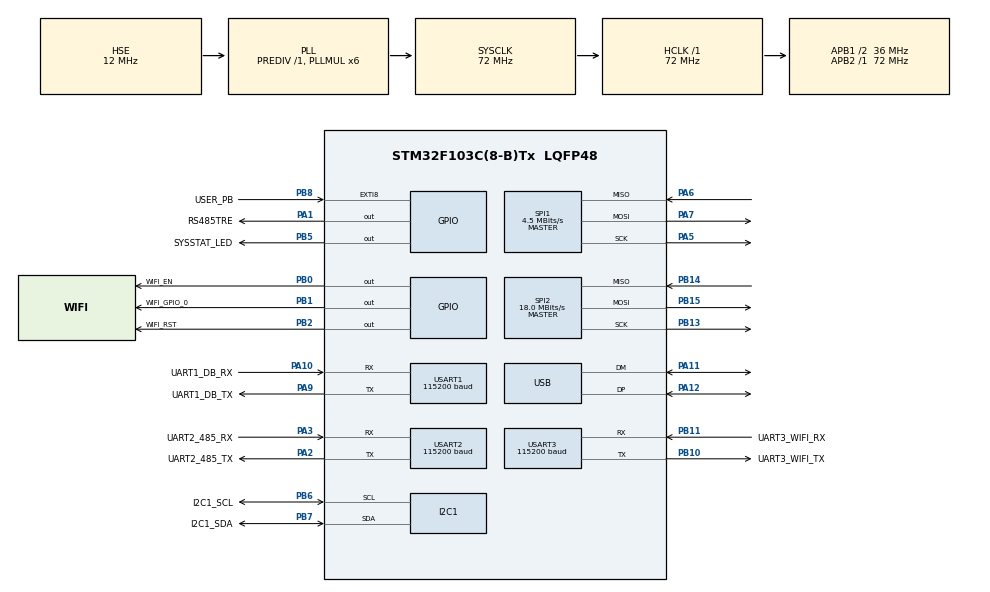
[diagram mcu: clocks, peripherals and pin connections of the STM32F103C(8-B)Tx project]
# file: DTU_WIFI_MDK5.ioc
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Dma.Request0=USART1_TX
Dma.Request1=USART1_RX
Dma.Request2=USART2_TX
Dma.Request3=USART2_RX
Dma.Request4=USART3_TX
Dma.Request5=USART3_RX
Dma.USART1_RX.1.Direction=DMA_PERIPH_TO_MEMORY
Dma.USART1_RX.1.Instance=DMA1_Channel5
Dma.USART1_RX.1.MemDataAlignment=DMA_MDATAALIGN_BYTE
Dma.USART1_RX.1.MemInc=DMA_MINC_ENABLE
Dma.USART1_RX.1.Mode=DMA_CIRCULAR
Dma.USART1_RX.1.PeriphDataAlignment=DMA_PDATAALIGN_BYTE
Dma.USART1_RX.1.PeriphInc=DMA_PINC_DISABLE
Dma.USART1_RX.1.Priority=DMA_PRIORITY_LOW
Dma.USART1_TX.0.Direction=DMA_MEMORY_TO_PERIPH
Dma.USART1_TX.0.Instance=DMA1_Channel4
Dma.USART1_TX.0.MemDataAlignment=DMA_MDATAALIGN_BYTE
Dma.USART1_TX.0.MemInc=DMA_MINC_ENABLE
Dma.USART1_TX.0.Mode=DMA_CIRCULAR
Dma.USART1_TX.0.PeriphDataAlignment=DMA_PDATAALIGN_BYTE
Dma.USART1_TX.0.PeriphInc=DMA_PINC_DISABLE
Dma.USART1_TX.0.Priority=DMA_PRIORITY_LOW
Dma.USART2_RX.3.Direction=DMA_PERIPH_TO_MEMORY
Dma.USART2_RX.3.Instance=DMA1_Channel6
Dma.USART2_RX.3.MemDataAlignment=DMA_MDATAALIGN_BYTE
Dma.USART2_RX.3.MemInc=DMA_MINC_ENABLE
Dma.USART2_RX.3.Mode=DMA_CIRCULAR
Dma.USART2_RX.3.PeriphDataAlignment=DMA_PDATAALIGN_BYTE
Dma.USART2_RX.3.PeriphInc=DMA_PINC_DISABLE
Dma.USART2_RX.3.Priority=DMA_PRIORITY_LOW
Dma.USART2_TX.2.Direction=DMA_MEMORY_TO_PERIPH
Dma.USART2_TX.2.Instance=DMA1_Channel7
Dma.USART2_TX.2.MemDataAlignment=DMA_MDATAALIGN_BYTE
Dma.USART2_TX.2.MemInc=DMA_MINC_ENABLE
Dma.USART2_TX.2.Mode=DMA_CIRCULAR
Dma.USART2_TX.2.PeriphDataAlignment=DMA_PDATAALIGN_BYTE
Dma.USART2_TX.2.PeriphInc=DMA_PINC_DISABLE
Dma.USART2_TX.2.Priority=DMA_PRIORITY_LOW
Dma.USART3_RX.5.Direction=DMA_PERIPH_TO_MEMORY
Dma.USART3_RX.5.Instance=DMA1_Channel3
Dma.USART3_RX.5.MemDataAlignment=DMA_MDATAALIGN_BYTE
Dma.USART3_RX.5.MemInc=DMA_MINC_ENABLE
Dma.USART3_RX.5.Mode=DMA_CIRCULAR
Dma.USART3_RX.5.PeriphDataAlignment=DMA_PDATAALIGN_BYTE
Dma.USART3_RX.5.PeriphInc=DMA_PINC_DISABLE
Dma.USART3_RX.5.Priority=DMA_PRIORITY_LOW
Dma.USART3_TX.4.Direction=DMA_MEMORY_TO_PERIPH
Dma.USART3_TX.4.Instance=DMA1_Channel2
Dma.USART3_TX.4.MemDataAlignment=DMA_MDATAALIGN_BYTE
Dma.USART3_TX.4.MemInc=DMA_MINC_ENABLE
Dma.USART3_TX.4.Mode=DMA_CIRCULAR
Dma.USART3_TX.4.PeriphDataAlignment=DMA_PDATAALIGN_BYTE
Dma.USART3_TX.4.PeriphInc=DMA_PINC_DISABLE
Dma.USART3_TX.4.Priority=DMA_PRIORITY_LOW
IWDG.Prescaler=IWDG_PRESCALER_64
Mcu.Family=STM32F1
Mcu.Name=STM32F103C(8-B)Tx
Mcu.Package=LQFP48
NVIC.DMA1_Channel2_IRQn=true\:0\:0\:false\:true\:true\:1\:false
NVIC.DMA1_Channel3_IRQn=true\:0\:0\:false\:true\:true\:2\:false
NVIC.DMA1_Channel4_IRQn=true\:0\:0\:false\:true\:true\:3\:false
NVIC.DMA1_Channel5_IRQn=true\:0\:0\:false\:true\:true\:4\:false
NVIC.DMA1_Channel6_IRQn=true\:0\:0\:false\:true\:true\:5\:false
NVIC.DMA1_Channel7_IRQn=true\:0\:0\:false\:true\:true\:6\:false
NVIC.EXTI9_5_IRQn=true\:0\:0\:false\:true\:true\:8\:true
NVIC.I2C1_ER_IRQn=true\:0\:0\:false\:true\:true\:13\:true
NVIC.I2C1_EV_IRQn=true\:0\:0\:false\:true\:true\:12\:true
NVIC.PriorityGroup=NVIC_PRIORITYGROUP_4
NVIC.RTC_IRQn=true\:0\:0\:false\:true\:true\:15\:true
NVIC.SPI1_IRQn=true\:0\:0\:false\:true\:true\:14\:true
NVIC.TIM1_UP_IRQn=true\:0\:0\:false\:false\:true\:false
NVIC.TIM4_IRQn=true\:0\:0\:false\:true\:true\:7\:true
NVIC.TimeBase=TIM1_UP_IRQn
NVIC.TimeBaseIP=TIM1
NVIC.USART1_IRQn=true\:0\:0\:false\:true\:true\:9\:true
NVIC.USART2_IRQn=true\:0\:0\:false\:true\:true\:10\:true
NVIC.USART3_IRQn=true\:0\:0\:false\:true\:true\:11\:true
NVIC.USB_LP_CAN1_RX0_IRQn=true\:0\:0\:false\:false\:true\:false
PA0-WKUP.Mode=SYS_WakeUp0
PA0-WKUP.Signal=SYS_WKUP
PA1.GPIO_Label=RS485TRE
PA1.Signal=GPIO_Output
PA10.GPIO_Label=UART1_DB_RX
PA10.Mode=Asynchronous
PA10.Signal=USART1_RX
PA11.Mode=Device
PA11.Signal=USB_DM
PA12.Mode=Device
PA12.Signal=USB_DP
PA13.GPIO_Label=SYS_SWDIO
PA13.Signal=SYS_JTMS-SWDIO
PA14.GPIO_Label=SYS_SWCLK
PA14.Signal=SYS_JTCK-SWCLK
PA2.GPIO_Label=UART2_485_TX
PA2.Mode=Asynchronous
PA2.Signal=USART2_TX
PA3.GPIO_Label=UART2_485_RX
PA3.Mode=Asynchronous
PA3.Signal=USART2_RX
PA4.GPIO_Label=SPI1NSS
PA4.Signal=SPI1_NSS
PA5.Mode=Full_Duplex_Master
PA5.Signal=SPI1_SCK
PA6.Mode=Full_Duplex_Master
PA6.Signal=SPI1_MISO
PA7.Mode=Full_Duplex_Master
PA7.Signal=SPI1_MOSI
PA9.GPIO_Label=UART1_DB_TX
PA9.Mode=Asynchronous
PA9.Signal=USART1_TX
PB0.GPIO_Label=WIFI_EN
PB0.Signal=GPIO_Output
PB1.GPIO_Label=WIFI_GPIO_0
PB1.Signal=GPIO_Output
PB10.GPIO_Label=UART3_WIFI_TX
PB10.Mode=Asynchronous
PB10.Signal=USART3_TX
PB11.GPIO_Label=UART3_WIFI_RX
PB11.Mode=Asynchronous
PB11.Signal=USART3_RX
PB13.Mode=Full_Duplex_Master
PB13.Signal=SPI2_SCK
PB14.Mode=Full_Duplex_Master
PB14.Signal=SPI2_MISO
PB15.Mode=Full_Duplex_Master
PB15.Signal=SPI2_MOSI
PB2.GPIO_Label=WIFI_RST
PB2.Signal=GPIO_Output
PB5.GPIO_Label=SYSSTAT_LED
PB5.Signal=GPIO_Output
PB6.GPIO_Label=I2C1_SCL
PB6.Mode=I2C
PB6.Signal=I2C1_SCL
PB7.GPIO_Label=I2C1_SDA
PB7.Mode=I2C
PB7.Signal=I2C1_SDA
PB8.GPIO_Label=USER_PB
PB8.GPIO_ModeDefaultEXTI=GPIO_MODE_IT_FALLING
PB8.GPIO_PuPd=GPIO_PULLUP
PB8.Signal=GPXTI8
PD0-OSC_IN.Mode=HSE-External-Oscillator
PD0-OSC_IN.Signal=RCC_OSC_IN
PD1-OSC_OUT.Mode=HSE-External-Oscillator
PD1-OSC_OUT.Signal=RCC_OSC_OUT
ProjectManager.HeapSize=0x200
ProjectManager.StackSize=0x400
ProjectManager.TargetToolchain=MDK-ARM V5
RCC.AHBFreq_Value=72000000
RCC.APB1CLKDivider=RCC_HCLK_DIV2
RCC.APB1Freq_Value=36000000
RCC.APB1TimFreq_Value=72000000
RCC.APB2Freq_Value=72000000
RCC.APB2TimFreq_Value=72000000
RCC.HCLKFreq_Value=72000000
RCC.HSE_VALUE=12000000
RCC.PLLMUL=RCC_PLL_MUL6
RCC.PLLSourceVirtual=RCC_PLLSOURCE_HSE
RCC.SYSCLKFreq_VALUE=72000000
RCC.SYSCLKSource=RCC_SYSCLKSOURCE_PLLCLK
RCC.USBFreq_Value=48000000
RCC.USBPrescaler=RCC_USBCLKSOURCE_PLL_DIV1_5
RTC.Date=19
RTC.Month=RTC_MONTH_APRIL
RTC.WeekDay=RTC_WEEKDAY_THURSDAY
RTC.Year=18
SPI1.BaudRatePrescaler=SPI_BAUDRATEPRESCALER_16
SPI1.CalculateBaudRate=4.5 MBits/s
SPI1.Direction=SPI_DIRECTION_2LINES
SPI1.Mode=SPI_MODE_MASTER
SPI1.VirtualType=VM_MASTER
SPI2.CalculateBaudRate=18.0 MBits/s
SPI2.Direction=SPI_DIRECTION_2LINES
SPI2.Mode=SPI_MODE_MASTER
SPI2.VirtualType=VM_MASTER
TIM4.Period=9999
TIM4.Prescaler=7199
USART1.BaudRate=115200
USART1.VirtualMode=VM_ASYNC
USART2.BaudRate=115200
USART2.VirtualMode=VM_ASYNC
USART3.BaudRate=115200
USART3.VirtualMode=VM_ASYNC
USB_DEVICE.CLASS_NAME_FS=HID
USB_DEVICE.VirtualMode=Hid
USB_DEVICE.VirtualModeFS=Hid_FS
VP_IWDG_VS_IWDG.Mode=IWDG_Activate
VP_RTC_VS_RTC_Activate.Mode=RTC_Enabled
VP_RTC_VS_RTC_Calendar.Mode=RTC_Calendar
VP_SYS_VS_ND.Mode=No_Debug
VP_SYS_VS_tim1.Mode=TIM1
VP_TIM2_VS_ClockSourceINT.Mode=Internal
VP_TIM3_VS_ClockSourceINT.Mode=Internal
VP_TIM4_VS_ClockSourceINT.Mode=Internal
VP_USB_DEVICE_VS_USB_DEVICE_HID_FS.Mode=HID_FS
board=OPBOARD_WIFI

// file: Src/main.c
/**
  ******************************************************************************
  * @file           : main.c
  * @brief          : Main program body
  ******************************************************************************
  * This notice applies to any and all portions of this file
  * that are not between comment pairs USER CODE BEGIN and
  * USER CODE END. Other portions of this file, whether
  * inserted by the user or by software development tools
  * are owned by their respective copyright owners.
  *
  * Copyright (c) 2018 STMicroelectronics International N.V.
  * All rights reserved.
  *
  * Redistribution and use in source and binary forms, with or without
  * modification, are permitted, provided that the following conditions are met:
  *
  * 1. Redistribution of source code must retain the above copyright notice,
  *    this list of conditions and the following disclaimer.
  * 2. Redistributions in binary form must reproduce the above copyright notice,
  *    this list of conditions and the following disclaimer in the documentation
  *    and/or other materials provided with the distribution.
  * 3. Neither the name of STMicroelectronics nor the names of other
  *    contributors to this software may be used to endorse or promote products
  *    derived from this software without specific written permission.
  * 4. This software, including modifications and/or derivative works of this
  *    software, must execute solely and exclusively on microcontroller or
  *    microprocessor devices manufactured by or for STMicroelectronics.
  * 5. Redistribution and use of this software other than as permitted under
  *    this license is void and will automatically terminate your rights under
  *    this license.
  *
  * THIS SOFTWARE IS PROVIDED BY STMICROELECTRONICS AND CONTRIBUTORS "AS IS"
  * AND ANY EXPRESS, IMPLIED OR STATUTORY WARRANTIES, INCLUDING, BUT NOT
  * LIMITED TO, THE IMPLIED WARRANTIES OF MERCHANTABILITY, FITNESS FOR A
  * PARTICULAR PURPOSE AND NON-INFRINGEMENT OF THIRD PARTY INTELLECTUAL PROPERTY
  * RIGHTS ARE DISCLAIMED TO THE FULLEST EXTENT PERMITTED BY LAW. IN NO EVENT
  * SHALL STMICROELECTRONICS OR CONTRIBUTORS BE LIABLE FOR ANY DIRECT, INDIRECT,
  * INCIDENTAL, SPECIAL, EXEMPLARY, OR CONSEQUENTIAL DAMAGES (INCLUDING, BUT NOT
  * LIMITED TO, PROCUREMENT OF SUBSTITUTE GOODS OR SERVICES; LOSS OF USE, DATA,
  * OR PROFITS; OR BUSINESS INTERRUPTION) HOWEVER CAUSED AND ON ANY THEORY OF
  * LIABILITY, WHETHER IN CONTRACT, STRICT LIABILITY, OR TORT (INCLUDING
  * NEGLIGENCE OR OTHERWISE) ARISING IN ANY WAY OUT OF THE USE OF THIS SOFTWARE,
  * EVEN IF ADVISED OF THE POSSIBILITY OF SUCH DAMAGE.
  *
  ******************************************************************************
  */
#include "main.h"
#include "stm32f1xx_hal.h"
#include "dma.h"
#include "i2c.h"
#include "iwdg.h"
#include "rtc.h"
#include "spi.h"
#include "tim.h"
#include "usart.h"
#include "usb_device.h"
#include "gpio.h"

/* USER CODE BEGIN Includes */
#include "ESP8266_driver.h"
#include "uart_idle.h"
/* USER CODE END Includes */

/* USER CODE BEGIN PV */
/* Private variables ---------------------------------------------------------*/

/* USER CODE END PV */

void SystemClock_Config(void);
static void MX_NVIC_Init(void);

/* USER CODE BEGIN PFP */
/* Private function prototypes -----------------------------------------------*/

/* USER CODE END PFP */

int main(void)
{

  /* MCU Configuration----------------------------------------------------------*/

  /* Reset of all peripherals, Initializes the Flash interface and the Systick. */
  HAL_Init();

  /* Configure the system clock */
  SystemClock_Config();

  /* Initialize all configured peripherals */
  MX_GPIO_Init();
  MX_DMA_Init();
  MX_USART2_UART_Init();
  MX_USART3_UART_Init();
  MX_USART1_UART_Init();
  MX_SPI1_Init();
  MX_I2C1_Init();
  MX_RTC_Init();
  MX_TIM4_Init();
  MX_IWDG_Init();
  MX_SPI2_Init();
  MX_TIM3_Init();
  MX_TIM2_Init();
  MX_USB_DEVICE_Init();

  /* Initialize interrupts */
  MX_NVIC_Init();
  /* USER CODE BEGIN 2 */
//	if(HAL_TIM_Base_Start_IT(&htim2) != HAL_OK)
//	{
//		printf("TIM2 start error\r\n");
//	}
	if(HAL_TIM_Base_Start_IT(&htim3) != HAL_OK)
	{
		printf("TIM3 start error\r\n");
	}
	if(HAL_TIM_Base_Start_IT(&htim4) != HAL_OK)
	{
		printf("TIM4 start error\r\n");
	}

	/* todo：整合到esp8266驱动库中 */
	esp8266_init();                                                  /* esp8266初始化 */
	HAL_Delay(1000);                                                 /* 延时1s，屏蔽esp8266开机输出信息 */
	__HAL_UART_ENABLE_IT(&huart3, UART_IT_IDLE);                     /* 打开串口3空闲中断 */
	HAL_UART_Receive_DMA(&huart3, (uint8_t *)Uart3_Rx_Buffer, Uart3_Rx_BufferSize);   /* 打开串口3DMA接收中断 */

  /* USER CODE END 2 */

  /* Infinite loop */
  /* USER CODE BEGIN WHILE */
  while (1)
  {
		HAL_IWDG_Refresh(&hiwdg);
	  esp8266_processing();
  /* USER CODE END WHILE */

  }

}

void SystemClock_Config(void)
{

  RCC_OscInitTypeDef RCC_OscInitStruct;
  RCC_ClkInitTypeDef RCC_ClkInitStruct;
  RCC_PeriphCLKInitTypeDef PeriphClkInit;

    /**Initializes the CPU, AHB and APB busses clocks
    */
  RCC_OscInitStruct.OscillatorType = RCC_OSCILLATORTYPE_LSI|RCC_OSCILLATORTYPE_HSE;
  RCC_OscInitStruct.HSEState = RCC_HSE_ON;
  RCC_OscInitStruct.HSEPredivValue = RCC_HSE_PREDIV_DIV1;
  RCC_OscInitStruct.HSIState = RCC_HSI_ON;
  RCC_OscInitStruct.LSIState = RCC_LSI_ON;
  RCC_OscInitStruct.PLL.PLLState = RCC_PLL_ON;
  RCC_OscInitStruct.PLL.PLLSource = RCC_PLLSOURCE_HSE;
  RCC_OscInitStruct.PLL.PLLMUL = RCC_PLL_MUL6;
  if (HAL_RCC_OscConfig(&RCC_OscInitStruct) != HAL_OK)
  {
    _Error_Handler(__FILE__, __LINE__);
  }

    /**Initializes the CPU, AHB and APB busses clocks
    */
  RCC_ClkInitStruct.ClockType = RCC_CLOCKTYPE_HCLK|RCC_CLOCKTYPE_SYSCLK
                              |RCC_CLOCKTYPE_PCLK1|RCC_CLOCKTYPE_PCLK2;
  RCC_ClkInitStruct.SYSCLKSource = RCC_SYSCLKSOURCE_PLLCLK;
  RCC_ClkInitStruct.AHBCLKDivider = RCC_SYSCLK_DIV1;
  RCC_ClkInitStruct.APB1CLKDivider = RCC_HCLK_DIV2;
  RCC_ClkInitStruct.APB2CLKDivider = RCC_HCLK_DIV1;

  if (HAL_RCC_ClockConfig(&RCC_ClkInitStruct, FLASH_LATENCY_2) != HAL_OK)
  {
    _Error_Handler(__FILE__, __LINE__);
  }

  PeriphClkInit.PeriphClockSelection = RCC_PERIPHCLK_RTC|RCC_PERIPHCLK_USB;
  PeriphClkInit.RTCClockSelection = RCC_RTCCLKSOURCE_LSI;
  PeriphClkInit.UsbClockSelection = RCC_USBCLKSOURCE_PLL_DIV1_5;
  if (HAL_RCCEx_PeriphCLKConfig(&PeriphClkInit) != HAL_OK)
  {
    _Error_Handler(__FILE__, __LINE__);
  }

    /**Configure the Systick interrupt time
    */
  HAL_SYSTICK_Config(HAL_RCC_GetHCLKFreq()/1000);

    /**Configure the Systick
    */
  HAL_SYSTICK_CLKSourceConfig(SYSTICK_CLKSOURCE_HCLK);

  /* SysTick_IRQn interrupt configuration */
  HAL_NVIC_SetPriority(SysTick_IRQn, 0, 0);
}

/**
  * @brief NVIC Configuration.
  * @retval None
  */
static void MX_NVIC_Init(void)
{
  /* DMA1_Channel2_IRQn interrupt configuration */
  HAL_NVIC_SetPriority(DMA1_Channel2_IRQn, 0, 0);
  HAL_NVIC_EnableIRQ(DMA1_Channel2_IRQn);
  /* DMA1_Channel3_IRQn interrupt configuration */
  HAL_NVIC_SetPriority(DMA1_Channel3_IRQn, 0, 0);
  HAL_NVIC_EnableIRQ(DMA1_Channel3_IRQn);
  /* DMA1_Channel4_IRQn interrupt configuration */
  HAL_NVIC_SetPriority(DMA1_Channel4_IRQn, 0, 0);
  HAL_NVIC_EnableIRQ(DMA1_Channel4_IRQn);
  /* DMA1_Channel5_IRQn interrupt configuration */
  HAL_NVIC_SetPriority(DMA1_Channel5_IRQn, 0, 0);
  HAL_NVIC_EnableIRQ(DMA1_Channel5_IRQn);
  /* DMA1_Channel6_IRQn interrupt configuration */
  HAL_NVIC_SetPriority(DMA1_Channel6_IRQn, 0, 0);
  HAL_NVIC_EnableIRQ(DMA1_Channel6_IRQn);
  /* DMA1_Channel7_IRQn interrupt configuration */
  HAL_NVIC_SetPriority(DMA1_Channel7_IRQn, 0, 0);
  HAL_NVIC_EnableIRQ(DMA1_Channel7_IRQn);
  /* TIM4_IRQn interrupt configuration */
  HAL_NVIC_SetPriority(TIM4_IRQn, 0, 0);
  HAL_NVIC_EnableIRQ(TIM4_IRQn);
  /* EXTI9_5_IRQn interrupt configuration */
  HAL_NVIC_SetPriority(EXTI9_5_IRQn, 0, 0);
  HAL_NVIC_EnableIRQ(EXTI9_5_IRQn);
  /* USART1_IRQn interrupt configuration */
  HAL_NVIC_SetPriority(USART1_IRQn, 0, 0);
  HAL_NVIC_EnableIRQ(USART1_IRQn);
  /* USART2_IRQn interrupt configuration */
  HAL_NVIC_SetPriority(USART2_IRQn, 0, 0);
  HAL_NVIC_EnableIRQ(USART2_IRQn);
  /* USART3_IRQn interrupt configuration */
  HAL_NVIC_SetPriority(USART3_IRQn, 0, 0);
  HAL_NVIC_EnableIRQ(USART3_IRQn);
  /* I2C1_EV_IRQn interrupt configuration */
  HAL_NVIC_SetPriority(I2C1_EV_IRQn, 0, 0);
  HAL_NVIC_EnableIRQ(I2C1_EV_IRQn);
  /* I2C1_ER_IRQn interrupt configuration */
  HAL_NVIC_SetPriority(I2C1_ER_IRQn, 0, 0);
  HAL_NVIC_EnableIRQ(I2C1_ER_IRQn);
  /* SPI1_IRQn interrupt configuration */
  HAL_NVIC_SetPriority(SPI1_IRQn, 0, 0);
  HAL_NVIC_EnableIRQ(SPI1_IRQn);
  /* RTC_IRQn interrupt configuration */
  HAL_NVIC_SetPriority(RTC_IRQn, 0, 0);
  HAL_NVIC_EnableIRQ(RTC_IRQn);
}

void HAL_TIM_PeriodElapsedCallback(TIM_HandleTypeDef *htim)
{
  if (htim->Instance == TIM1) {
    HAL_IncTick();
  }
  /* USER CODE BEGIN Callback 1 */
	if(htim->Instance == TIM2){

	}
	if(htim->Instance == TIM3){
		at_processing();
		at_time_task();
		printf("TIM3 IT worked.\r\n");
	}
	if(htim->Instance == TIM4){
		HAL_GPIO_TogglePin(SYSSTAT_LED_GPIO_Port, SYSSTAT_LED_Pin);

	}
  /* USER CODE END Callback 1 */
}

void _Error_Handler(char *file, int line)
{
  while(1)
  {
  }
}

/************************ (C) COPYRIGHT STMicroelectronics *****END OF FILE****/
